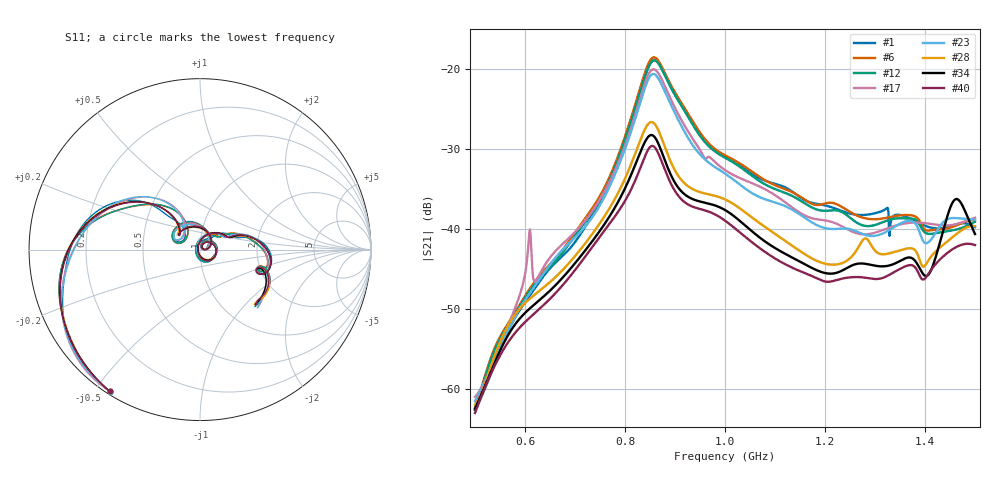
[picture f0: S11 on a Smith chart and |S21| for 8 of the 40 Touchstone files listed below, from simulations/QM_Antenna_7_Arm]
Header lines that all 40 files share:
! TOUCHSTONE file generated by CST MICROWAVE STUDIO
! Header version: 2018
! Port assignment regex: !\s*Touchstone port\s*([0-9]+)\s*=\s*(CST MWS port|CST DS port)\s*([0-9]+|Zmin|Zmax)\s*\(\"(.*)\"\)(\s*mode\s*([0-9]+))?.*
! Touchstone port assignment:
! Touchstone port 1 = CST MWS port 1 ("")
! Touchstone port 2 = CST MWS port 2 ("")
# GHz S DB R 50
Fixed: L_HA = 400, MT = 2.54, Rad_Dielectric = 30, Rad_Lower = 7.3, Rad_Upper = 30, a_HA = 580, a_WG = 246, b_HA = 500, b_WG = 121, c_HA = 0, c_WG = 187, d_feed = 85, h_feed = 15, h_lower = 18, h_upper = 40
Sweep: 500 MHz to 1.5 GHz
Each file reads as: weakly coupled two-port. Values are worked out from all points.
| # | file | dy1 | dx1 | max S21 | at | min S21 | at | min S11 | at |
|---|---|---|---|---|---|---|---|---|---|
| 1 | 32_4.s2p | 191.571 | 693 | -18.84 dB | 859 MHz | -62.7 dB | 500 MHz | -37.9 dB | 922 MHz |
| 2 | 32_5.s2p | 191.571 | 866 | -19.44 dB | 859 MHz | -63.7 dB | 500 MHz | -46.6 dB | 1.131 GHz |
| 3 | 32_6.s2p | 191.571 | 1039 | -19.65 dB | 863 MHz | -66.7 dB | 507 MHz | -49.1 dB | 1.139 GHz |
| 4 | 33_1.s2p | 207.6 | 173 | -21.05 dB | 854 MHz | -60.1 dB | 500 MHz | -39.6 dB | 1.139 GHz |
| 5 | 33_2.s2p | 207.6 | 346 | -18.57 dB | 857 MHz | -60.1 dB | 500 MHz | -39.7 dB | 1.143 GHz |
| 6 | 33_3.s2p | 208.912 | 520 | -18.48 dB | 858 MHz | -62.4 dB | 500 MHz | -38.3 dB | 921 MHz |
| 7 | 33_4.s2p | 208.912 | 693 | -19.06 dB | 858 MHz | -62.9 dB | 500 MHz | -38.3 dB | 921 MHz |
| 8 | 33_5.s2p | 208.912 | 866 | -19.50 dB | 858 MHz | -63.9 dB | 500 MHz | -50.5 dB | 1.131 GHz |
| 9 | 33_6.s2p | 208.912 | 1039 | -19.65 dB | 859 MHz | -64.4 dB | 500 MHz | -44.9 dB | 1.14 GHz |
| 10 | 34_1.s2p | 224.9 | 173 | -22.21 dB | 853 MHz | -60.5 dB | 500 MHz | -57.3 dB | 1.143 GHz |
| 11 | 34_2.s2p | 224.9 | 346 | -19.22 dB | 858 MHz | -60.6 dB | 500 MHz | -37.0 dB | 1.142 GHz |
| 12 | 34_3.s2p | 226.253 | 520 | -18.87 dB | 859 MHz | -62.7 dB | 500 MHz | -38.0 dB | 919 MHz |
| 13 | 34_4.s2p | 226.253 | 693 | -19.28 dB | 863 MHz | -63.2 dB | 500 MHz | -38.5 dB | 923 MHz |
| 14 | 34_5.s2p | 226.253 | 866 | -19.63 dB | 859 MHz | -64.1 dB | 500 MHz | -58.6 dB | 1.131 GHz |
| 15 | 34_6.s2p | 226.253 | 1039 | -19.79 dB | 858 MHz | -64.6 dB | 500 MHz | -47.5 dB | 918 MHz |
| 16 | 35_1.s2p | 242.2 | 173 | -23.64 dB | 854 MHz | -61.1 dB | 500 MHz | -54.5 dB | 1.144 GHz |
| 17 | 35_2.s2p | 242.2 | 346 | -19.98 dB | 857 MHz | -61.0 dB | 500 MHz | -36.5 dB | 1.143 GHz |
| 18 | 35_3.s2p | 243.594 | 520 | -19.38 dB | 857 MHz | -62.9 dB | 500 MHz | -37.6 dB | 917 MHz |
| 19 | 35_4.s2p | 243.594 | 693 | -19.67 dB | 858 MHz | -63.3 dB | 500 MHz | -38.5 dB | 920 MHz |
| 20 | 35_5.s2p | 243.594 | 866 | -19.89 dB | 859 MHz | -64.2 dB | 500 MHz | -61.3 dB | 1.132 GHz |
| 21 | 35_6.s2p | 243.594 | 1039 | -20.04 dB | 859 MHz | -73.5 dB | 523 MHz | -40.0 dB | 1.139 GHz |
| 22 | 36_1.s2p | 259.5 | 173 | -25.06 dB | 852 MHz | -61.5 dB | 500 MHz | -43.2 dB | 1.142 GHz |
| 23 | 36_2.s2p | 259.5 | 346 | -20.58 dB | 857 MHz | -61.6 dB | 500 MHz | -35.0 dB | 916 MHz |
| 24 | 36_3.s2p | 260.935 | 520 | -19.82 dB | 857 MHz | -63.0 dB | 500 MHz | -37.5 dB | 916 MHz |
| 25 | 36_4.s2p | 260.935 | 693 | -20.11 dB | 859 MHz | -63.3 dB | 500 MHz | -41.7 dB | 1.13 GHz |
| 26 | 36_5.s2p | 260.935 | 866 | -20.30 dB | 859 MHz | -64.3 dB | 500 MHz | -55.2 dB | 1.133 GHz |
| 27 | 36_6.s2p | 260.935 | 1039 | -20.21 dB | 860 MHz | -64.9 dB | 500 MHz | -45.0 dB | 919 MHz |
| 28 | 37_1.s2p | 276.8 | 173 | -26.60 dB | 853 MHz | -62.0 dB | 500 MHz | -39.7 dB | 1.141 GHz |
| 29 | 37_2.s2p | 276.8 | 346 | -21.38 dB | 857 MHz | -62.1 dB | 500 MHz | -35.0 dB | 916 MHz |
| 30 | 37_3.s2p | 278.276 | 520 | -20.52 dB | 857 MHz | -63.4 dB | 506 MHz | -37.4 dB | 916 MHz |
| 31 | 37_4.s2p | 278.276 | 693 | -20.59 dB | 858 MHz | -63.7 dB | 500 MHz | -39.5 dB | 1.131 GHz |
| 32 | 37_5.s2p | 278.276 | 866 | -20.64 dB | 859 MHz | -81.2 dB | 524 MHz | -55.1 dB | 1.136 GHz |
| 33 | 37_6.s2p | 278.276 | 1039 | -20.53 dB | 859 MHz | -71.8 dB | 516 MHz | -40.2 dB | 915 MHz |
| 34 | 38_1.s2p | 294.1 | 173 | -28.22 dB | 853 MHz | -62.5 dB | 500 MHz | -38.4 dB | 1.139 GHz |
| 35 | 38_2.s2p | 294.1 | 346 | -22.06 dB | 856 MHz | -62.7 dB | 500 MHz | -34.9 dB | 916 MHz |
| 36 | 38_3.s2p | 295.617 | 520 | -20.97 dB | 860 MHz | -63.4 dB | 500 MHz | -36.9 dB | 916 MHz |
| 37 | 38_4.s2p | 295.617 | 693 | -20.93 dB | 859 MHz | -67.6 dB | 527 MHz | -42.8 dB | 1.131 GHz |
| 38 | 38_5.s2p | 295.617 | 866 | -21.01 dB | 859 MHz | -64.5 dB | 500 MHz | -67.9 dB | 1.138 GHz |
| 39 | 38_6.s2p | 295.617 | 1039 | -20.82 dB | 859 MHz | -69.0 dB | 518 MHz | -40.1 dB | 915 MHz |
| 40 | 39_1.s2p | 311.4 | 173 | -29.59 dB | 855 MHz | -63.0 dB | 500 MHz | -37.7 dB | 1.138 GHz |
